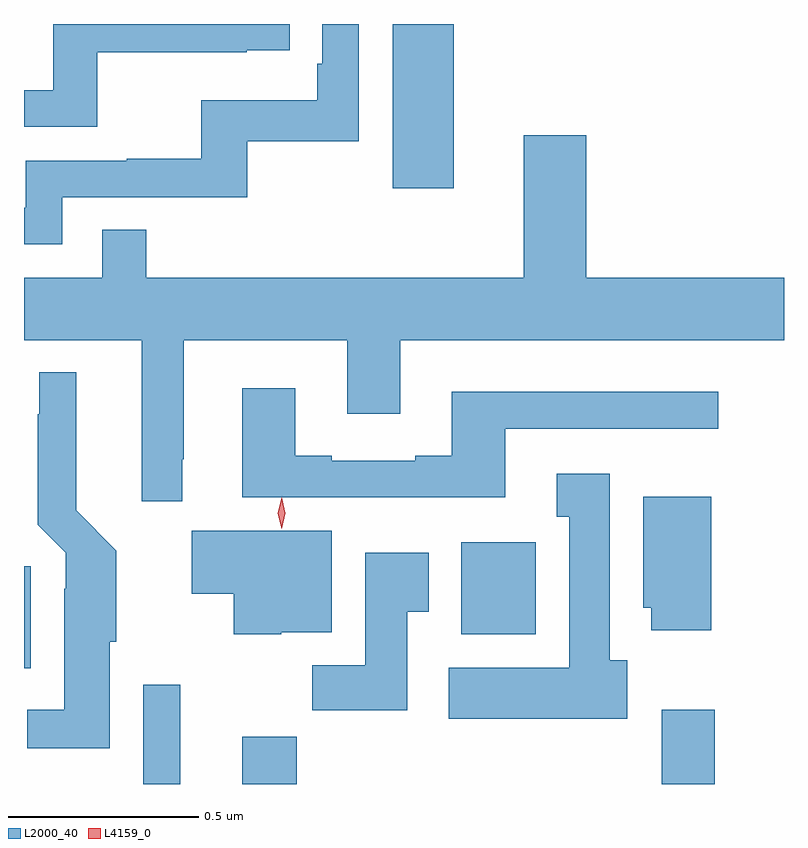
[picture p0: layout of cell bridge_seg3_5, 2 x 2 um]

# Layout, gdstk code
import gdstk
lib = gdstk.Library(unit=1e-6, precision=1e-09)
def R(c, l, rs):  # rectangles x0, y0, x1, y1
    for r in rs: c.add(gdstk.rectangle(r[:2], r[2:], *l))
def P(c, l, *ps):  # polygons
    for p in ps: c.add(gdstk.Polygon(p, *l))
L2000_40 = (2000, 40)
L4159_0 = (4159, 0)

bridge_seg3_5 = lib.new_cell('bridge_seg3_5')
R(bridge_seg3_5, L2000_40, [(931.239,715.732,931.336,715.993), (931.499,715.732,931.643,715.856), (932.603,715.732,932.743,715.927), (930.925,716.037,930.943,716.305), (932.075,716.126,932.272,716.368), (931.895,717.3,932.056,717.732)])
P(bridge_seg3_5, L2000_40, [(931.026,717.276),(931.513,717.276),(931.513,717.423),(931.806,717.423),(931.806,717.732),(931.71,717.732),(931.71,717.628),(931.697,717.628),(931.697,717.532),(931.392,717.532),(931.392,717.377),(931.195,717.377),(931.195,717.372),(930.93,717.372),(930.93,717.249),(930.925,717.249),(930.925,717.153),(931.026,717.153)],
  [(931.118,717.658),(931.511,717.658),(931.511,717.663),(931.624,717.663),(931.624,717.732),(931.002,717.732),(931.002,717.558),(930.925,717.558),(930.925,717.462),(931.118,717.462)],
  [(931.235,716.476),(931.342,716.476),(931.342,716.587),(931.345,716.587),(931.345,716.9),(931.775,716.9),(931.775,716.706),(931.915,716.706),(931.915,716.9),(932.925,716.9),(932.925,717.064),(932.404,717.064),(932.404,717.439),(932.24,717.439),(932.24,717.064),(931.247,717.064),(931.247,717.191),(931.131,717.191),(931.131,717.064),(930.925,717.064),(930.925,716.9),(931.235,716.9)],
  [(931.15,716.106),(931.168,716.106),(931.168,716.346),(931.063,716.452),(931.063,716.815),(930.965,716.815),(930.965,716.705),(930.961,716.705),(930.961,716.414),(931.035,716.34),(931.035,716.246),(931.031,716.246),(931.031,715.927),(930.933,715.927),(930.933,715.826),(931.15,715.826)],
  [(932.191,716.667),(932.752,716.667),(932.752,716.764),(932.051,716.764),(932.051,716.596),(931.955,716.596),(931.955,716.583),(931.735,716.583),(931.735,716.596),(931.639,716.596),(931.639,716.773),(931.499,716.773),(931.499,716.487),(931.827,716.487),(931.827,716.486),(932.191,716.486)],
  [(932.512,716.058),(932.467,716.058),(932.467,716.548),(932.327,716.548),(932.327,716.435),(932.36,716.435),(932.36,716.038),(932.043,716.038),(932.043,715.904),(932.512,715.904)],
  [(932.734,716.488),(932.555,716.488),(932.555,716.196),(932.576,716.196),(932.576,716.136),(932.734,716.136)],
  [(931.602,716.132),(931.735,716.132),(931.735,716.398),(931.366,716.398),(931.366,716.233),(931.477,716.233),(931.477,716.126),(931.602,716.126)],
  [(931.933,716.185),(931.99,716.185),(931.99,716.341),(931.823,716.341),(931.823,716.044),(931.684,716.044),(931.684,715.926),(931.933,715.926)])
P(bridge_seg3_5, L4159_0, [(931.603,716.404),(931.603,716.404),(931.593,716.445),(931.603,716.486),(931.603,716.486),(931.603,716.486),(931.613,716.445),(931.603,716.404)])

lib.write_gds('bridge_seg3_5.gds')
